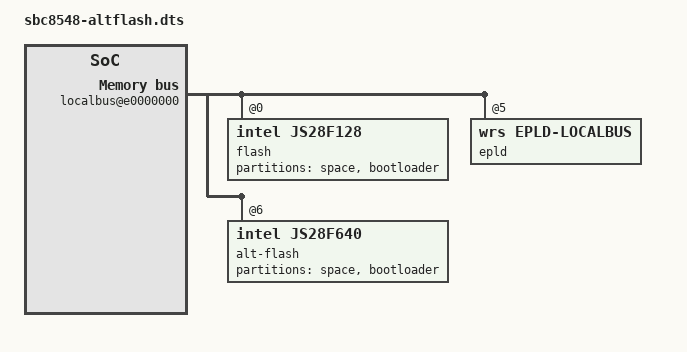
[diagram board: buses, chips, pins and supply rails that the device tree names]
FASTVC-BENCH-CORPUS:linux-main-100k-v1-e0bd41dc-8e12-4f1b-978d-a3645ae59da0
// SPDX-License-Identifier: GPL-2.0-or-later
/*
 * SBC8548 Device Tree Source
 *
 * Configured for booting off the alternate (64MB SODIMM) flash.
 * Requires switching JP12 jumpers and changing SW2.8 setting.
 *
 * Copyright 2013 Wind River Systems Inc.
 *
 * Paul Gortmaker (see MAINTAINERS for contact information)
 */


/dts-v1/;

/include/ "sbc8548-pre.dtsi"

/{
	localbus@e0000000 {
		#address-cells = <2>;
/* bench 11958.0.0 4f98848e36db */
/* bench 11958.0.1 c662a7826648 */
/* bench 11958.0.2 1b92f8ce5dfd */
/* bench 11958.0.3 26e02b38e8f4 */
/* bench 11958.0.4 234bc3834aba */
/* bench 11958.0.5 2b00a71ca109 */
/* bench 11958.0.6 c2dfe6174987 */
/* bench 11958.0.7 a2cb2fa4e78d */
		compatible = "simple-bus";
		reg = <0xe0000000 0x5000>;
		interrupt-parent = <&mpic>;

		ranges = <0x0 0x0 0xfc000000 0x04000000		/*64MB Flash*/
			  0x3 0x0 0xf0000000 0x04000000		/*64MB SDRAM*/
			  0x4 0x0 0xf4000000 0x04000000 	/*64MB SDRAM*/
			  0x5 0x0 0xf8000000 0x00b10000		/* EPLD */
/* bench 12188.1.0 47195ff99f6e */
/* bench 12188.1.1 2ce9eaab83e0 */
/* bench 12188.1.2 8323a0373e20 */
/* bench 12188.1.3 c88c29a668f8 */
/* bench 12188.1.4 486a912fe20c */
/* bench 12188.1.5 6b7303e67b98 */
/* bench 12188.1.6 32bdee38ff63 */
/* bench 12188.1.7 7b43f5607958 */
			  0x6 0x0 0xef800000 0x00800000>;	/*8MB Flash*/

		flash@0,0 {
			#address-cells = <1>;
			#size-cells = <1>;
			reg = <0x0 0x0 0x04000000>;
			compatible = "intel,JS28F128", "cfi-flash";
			bank-width = <4>;
			device-width = <1>;
			partition@0 {
				label = "space";
				/* FC000000 -> FFEFFFFF */
				reg = <0x00000000 0x03f00000>;
			};
			partition@3f00000 {
				label = "bootloader";
				/* FFF00000 -> FFFFFFFF */
				reg = <0x03f00000 0x00100000>;
				read-only;
			};
                };


		epld@5,0 {
			compatible = "wrs,epld-localbus";
			#address-cells = <2>;
			#size-cells = <1>;
			reg = <0x5 0x0 0x00b10000>;
			ranges = <
				0x0 0x0 0x5 0x000000 0x1fff	/* LED */
				0x1 0x0 0x5 0x100000 0x1fff	/* Switches */
				0x3 0x0 0x5 0x300000 0x1fff	/* HW Rev. */
				0xb 0x0	0x5 0xb00000 0x1fff	/* EEPROM */
			>;

			led@0,0 {
/* bench 1371.4.0 4de9d38b0cf2 */
/* bench 1371.4.1 b5268d293397 */
/* bench 1371.4.2 9be72b8a3b2d */
/* bench 1371.4.3 c37d6a170886 */
/* bench 1371.4.4 350829b536d6 */
/* bench 1371.4.5 2d1a23db991d */
/* bench 1371.4.6 7cb39becb8de */
/* bench 1371.4.7 812a64c461db */
/* bench 1371.4.8 5357d441d6fd */
/* bench 1371.4.9 d081f44b08cf */
				compatible = "led";
				reg = <0x0 0x0 0x1fff>;
			};

			switches@1,0 {
				compatible = "switches";
				reg = <0x1 0x0 0x1fff>;
			};

			hw-rev@3,0 {
				compatible = "hw-rev";
				reg = <0x3 0x0 0x1fff>;
			};

			eeprom@b,0 {
				compatible = "eeprom";
				reg = <0xb 0 0x1fff>;
			};

		};

		alt-flash@6,0 {
			#address-cells = <1>;
			#size-cells = <1>;
			compatible = "intel,JS28F640", "cfi-flash";
			reg = <0x6 0x0 0x800000>;
			bank-width = <1>;
			device-width = <1>;
			partition@0 {
				label = "space";
				/* EF800000 -> EFF9FFFF */
				reg = <0x00000000 0x007a0000>;
			};
			partition@7a0000 {
				label = "bootloader";
				/* EFFA0000 -> EFFFFFFF */
				reg = <0x007a0000 0x00060000>;
				read-only;
			};
		};


        };
};

/include/ "sbc8548-post.dtsi"
